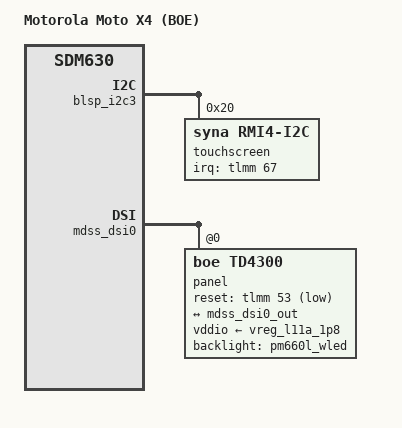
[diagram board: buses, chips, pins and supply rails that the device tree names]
// SPDX-License-Identifier: BSD-3-Clause
/*
 * Copyright (c) 2026, Fabricio Akio <fabricioakio@gmail.com>
 */

/dts-v1/;

#include "sdm630-motorola-payton.dtsi"

/ {
	model = "Motorola Moto X4 (BOE)";
	compatible = "motorola,payton-boe", "qcom,sdm630";
	chassis-type = "handset";
};

&blsp_i2c3 {
	status = "okay";

	touchscreen@20 {
		compatible = "syna,rmi4-i2c";
		reg = <0x20>;

		interrupts-extended = <&tlmm 67 IRQ_TYPE_LEVEL_LOW>;
		panel = <&panel>;

		pinctrl-0 = <&ts_int_default>;
		pinctrl-names = "default";

		#address-cells = <1>;
		#size-cells = <0>;

		rmi4-f01@1 {
			reg = <0x01>;
		};

		rmi4-f12@12 {
			reg = <0x12>;
			syna,sensor-type = <1>;
		};
	};
};

&mdss_dsi0 {
	panel: panel@0 {
		compatible = "boe,td4300";
		reg = <0>;

		backlight = <&pm660l_wled>;
		reset-gpios = <&tlmm 53 GPIO_ACTIVE_LOW>;
		vddio-supply = <&vreg_l11a_1p8>;

		port {
			panel_in: endpoint {
				remote-endpoint = <&mdss_dsi0_out>;
			};
		};
	};
};

&tlmm {
	ts_int_default: ts-int-default-state {
		pins = "gpio67";
		function = "gpio";

		drive-strength = <2>;
		bias-pull-up;
	};
};
